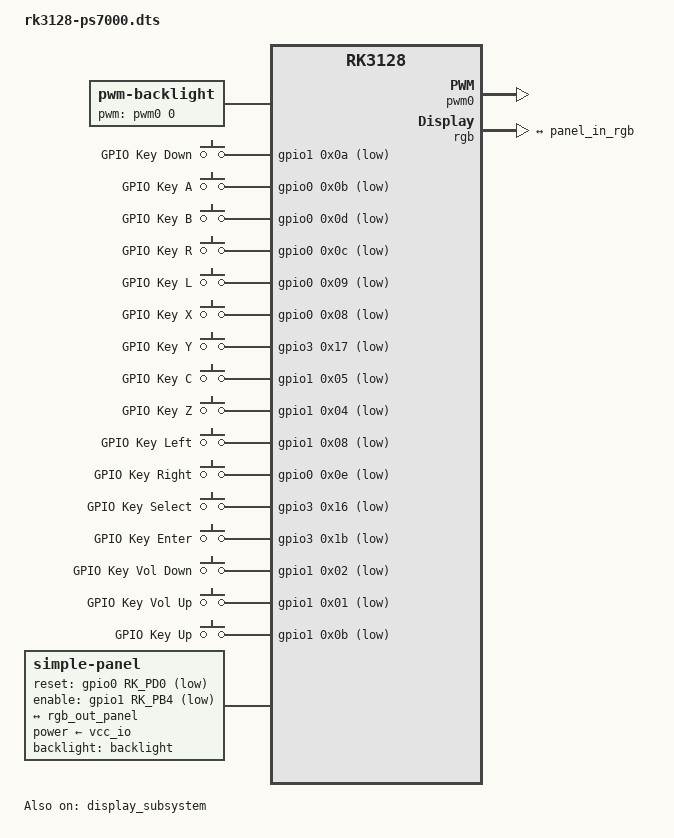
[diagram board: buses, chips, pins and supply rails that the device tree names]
/*
 * (C) Copyright 2021 Martin Cerveny
 *
 * SPDX-License-Identifier:     GPL-2.0+
 */

/dts-v1/;

#include "rk3128-wx8.dtsi"
#include <dt-bindings/input/rk-input.h>

/ {
	backlight: backlight {
		compatible = "pwm-backlight";
		pwms = <&pwm0 0 25000 0>;
		default-brightness-level = <200>;
		brightness-levels = <
			  0   1   2   3   4   5   6   7
			  8   9  10  11  12  13  14  15
			 16  17  18  19  20  21  22  23
			 24  25  26  27  28  29  30  31
			 32  33  34  35  36  37  38  39
			 40  41  42  43  44  45  46  47
			 48  49  50  51  52  53  54  55
			 56  57  58  59  60  61  62  63
			 64  65  66  67  68  69  70  71
			 72  73  74  75  76  77  78  79
			 80  81  82  83  84  85  86  87
			 88  89  90  91  92  93  94  95
			 96  97  98  99 100 101 102 103
			104 105 106 107 108 109 110 111
			112 113 114 115 116 117 118 119
			120 121 122 123 124 125 126 127
			128 129 130 131 132 133 134 135
			136 137 138 139 140 141 142 143
			144 145 146 147 148 149 150 151
			152 153 154 155 156 157 158 159
			160 161 162 163 164 165 166 167
			168 169 170 171 172 173 174 175
			176 177 178 179 180 181 182 183
			184 185 186 187 188 189 190 191
			192 193 194 195 196 197 198 199
			200 201 202 203 204 205 206 207
			208 209 210 211 212 213 214 215
			216 217 218 219 220 221 222 223
			224 225 226 227 228 229 230 231
			232 233 234 235 236 237 238 239
			240 241 242 243 244 245 246 247
			248 249 250 251 252 253 254 255>;
		status = "okay";

	};

	keys {
		autorepeat;
		compatible = "gpio-keys";
		pinctrl-0 = <&game_keys>;
		pinctrl-names = "default";

		down {
			debounce-interval = <20>;
			gpios = <&gpio1 0x0a 0x01>;
			label = "GPIO Key Down";
			linux,code = <KEY_DOWN>;
		};

		f1 {
			debounce-interval = <20>;
			gpios = <&gpio0 0x0b 0x01>;
			label = "GPIO Key A";
			linux,code = <KEY_A>;
		};

		f2 {
			debounce-interval = <20>;
			gpios = <&gpio0 0x0d 0x01>;
			label = "GPIO Key B";
			linux,code = <KEY_B>;
		};

		f3 {
			debounce-interval = <20>;
			gpios = <&gpio0 0x0c 0x01>;
			label = "GPIO Key R";
			linux,code = <KEY_R>;
		};

		f4 {
			debounce-interval = <20>;
			gpios = <&gpio0 0x09 0x01>;
			label = "GPIO Key L";
			linux,code = <KEY_L>;
		};

		f5 {
			debounce-interval = <20>;
			gpios = <&gpio0 0x08 0x01>;
			label = "GPIO Key X";
			linux,code = <KEY_X>;
		};

		f6 {
			debounce-interval = <20>;
			gpios = <&gpio3 0x17 0x01>;
			label = "GPIO Key Y";
			linux,code = <KEY_Y>;
		};

		f7 {
			debounce-interval = <20>;
			gpios = <&gpio1 0x05 0x01>;
			label = "GPIO Key C";
			linux,code = <KEY_C>;
		};

		f8 {
			debounce-interval = <20>;
			gpios = <&gpio1 0x04 0x01>;
			label = "GPIO Key Z";
			linux,code = <KEY_Z>;
		};

		left {
			debounce-interval = <20>;
			gpios = <&gpio1 0x08 0x01>;
			label = "GPIO Key Left";
			linux,code = <KEY_LEFT>;
		};

		right {
			debounce-interval = <20>;
			gpios = <&gpio0 0x0e 0x01>;
			label = "GPIO Key Right";
			linux,code = <KEY_RIGHT>;
		};

		select {
			debounce-interval = <20>;
			gpios = <&gpio3 0x16 0x01>;
			label = "GPIO Key Select";
			linux,code = <KEY_RIGHTSHIFT>;
		};

		start {
			debounce-interval = <20>;
			gpios = <&gpio3 0x1b 0x01>;
			label = "GPIO Key Enter";
			linux,code = <KEY_ENTER>;
		};

		vol-down-key {
			debounce-interval = <20>;
			gpios = <&gpio1 0x02 0x01>;
			label = "GPIO Key Vol Down";
			linux,code = <KEY_VOLUMEDOWN>;
		};

		vol-up-key {
			debounce-interval = <20>;
			gpios = <&gpio1 0x01 0x01>;
			label = "GPIO Key Vol Up";
			linux,code = <KEY_VOLUMEUP>;
		};

		up {
			debounce-interval = <20>;
			gpios = <&gpio1 0x0b 0x01>;
			label = "GPIO Key Up";
			linux,code = <KEY_UP>;
		};
	};

	panel {
		compatible = "simple-panel";
		power-supply = <&vcc_io>;
		backlight = <&backlight>;
		pinctrl-names = "default";
		pinctrl-0 = <&lcd_reset &lcd_enable>;
		reset-gpios = <&gpio0 RK_PD0 GPIO_ACTIVE_LOW>;
		enable-gpios = <&gpio1 RK_PB4 GPIO_ACTIVE_LOW>;
		reset-delay-ms = <60>;
		enable-delay-ms = <100>;
		prepare-delay-ms = <100>;
		unprepare-delay-ms = <2000>;
		init-delay-ms = <1000>;

		height-mm = <86>;
		width-mm = <0x154>;
		bus-format = <MEDIA_BUS_FMT_RGB888_1X24>;

		display-timings {
			native-mode = <&timing0>;

			timing0: timing0 {
				clock-frequency = <51200000>;

				hactive = <1024>;
				vactive = <600>;

				hback-porch = <140>;
				hfront-porch = <160>;
				hsync-active = <0>;
				hsync-len = <20>;
				vback-porch = <20>;
				vfront-porch = <12>;
				vsync-active = <0>;
				vsync-len = <3>;

				de-active = <0>;
				pixelclk-active = <1>;
			};
		};

		port {
			panel_in_rgb: endpoint {
				remote-endpoint = <&rgb_out_panel>;
			};
		};
	};
};

&joysticks {
	axes = <ABS_RZ ABS_Z ABS_Y ABS_X>;
	keys = <KEY_B KEY_Y KEY_X KEY_A KEY_DOWN KEY_UP KEY_LEFT KEY_RIGHT>;
};

&power_supply {
        discharge_table = <3500 3586 3636 3663 3724 3744 3760 3773 3772 3794 3806 3854 3897 3949 3986 4035 4075 4118 4150>;	// mV
        charge_table =    <3600 3900 3928 3965 3994 4015 4023 4045 4059 4096 4133 4171 4250>;	// mV, without mA cannot determine charging in CV part

        design_capacity = <4000>;	// mAh, battery "595490"
};

&pwm0 {
	status = "okay";
};

&display_subsystem {
	status = "okay";
	logo-memory-region = <&drm_logo>;

	route {
		route_rgb: route-rgb {
			connect = <&vop_out_rgb>;
			status = "okay";
		};

		route_hdmi: route-hdmi {
			connect = <&vop_out_hdmi>;
			status = "okay";
		};
	};

};

&rgb {
	status = "okay";

	ports {
		port@1 {
			reg = <1>;

			rgb_out_panel: endpoint {
				remote-endpoint = <&panel_in_rgb>;
			};
		};
	};
};
